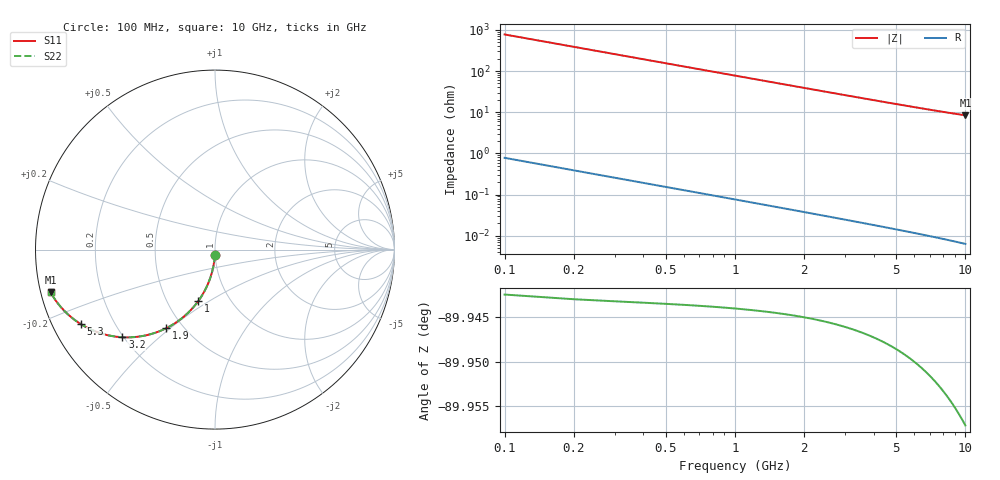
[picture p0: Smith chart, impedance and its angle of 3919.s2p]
# Hz S RI R 50.00
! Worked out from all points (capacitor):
!   100 points, 100 MHz to 10 GHz, reference 50 ohm
!   read as one part in shunt: C = 2.05 pF near 100 MHz
!   lowest |Z| = 8.42 ohm at 10 GHz (marker M1)
!   S11 on the Smith chart (normalised r, x): 100 MHz: 1.00, -0.06; 1 GHz: 0.71, -0.45; 1.9 GHz: 0.41, -0.48; 3.2 GHz: 0.20, -0.39; 5.3 GHz: 0.08, -0.26; 10 GHz: 0.03, -0.13
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1e8  -0.001 -0.0318  0.9989 -0.0325  0.9989 -0.0325  -0.001 -0.0318
2e8  -0.00412 -0.0634  0.9958 -0.0647  0.9958 -0.0647  -0.00412 -0.0634
3e8  -0.00925 -0.0946  0.9906 -0.0966  0.9906 -0.0966  -0.00925 -0.0946
4e8  -0.0163 -0.1252  0.9835 -0.1279  0.9835 -0.1279  -0.0163 -0.1252
5e8  -0.0253 -0.155  0.9746 -0.1584  0.9746 -0.1584  -0.0253 -0.155
6e8  -0.036 -0.1839  0.9639 -0.188  0.9639 -0.188  -0.036 -0.1839
7e8  -0.0484 -0.2118  0.9515 -0.2165  0.9515 -0.2165  -0.0484 -0.2118
8e8  -0.0622 -0.2385  0.9376 -0.2439  0.9376 -0.2439  -0.0622 -0.2385
1e9  -0.0939 -0.2879  0.9059 -0.2947  0.9059 -0.2947  -0.0939 -0.2879
1.2e9  -0.1299 -0.3317  0.87 -0.3398  0.87 -0.3398  -0.1299 -0.3317
1.4e9  -0.1688 -0.3694  0.831 -0.3789  0.831 -0.3789  -0.1688 -0.3694
1.8e9  -0.2514 -0.4273  0.7484 -0.4395  0.7484 -0.4395  -0.2514 -0.4273
1.9e9  -0.2723 -0.4383  0.7274 -0.4512  0.7274 -0.4512  -0.2723 -0.4383
2.5e9  -0.3935 -0.4795  0.6063 -0.4966  0.6063 -0.4966  -0.3935 -0.4795
3.2e9  -0.5157 -0.4883  0.4839 -0.5102  0.4839 -0.5102  -0.5157 -0.4883
3.4e9  -0.546 -0.4857  0.4535 -0.509  0.4535 -0.509  -0.546 -0.4857
4.2e9  -0.6481 -0.4625  0.3514 -0.4915  0.3514 -0.4915  -0.6481 -0.4625
5.1e9  -0.7317 -0.4246  0.2675 -0.4601  0.2675 -0.4601  -0.7317 -0.4246
5.3e9  -0.7467 -0.4157  0.2524 -0.4526  0.2524 -0.4526  -0.7467 -0.4157
6.7e9  -0.8262 -0.3543  0.1725 -0.4015  0.1725 -0.4015  -0.8262 -0.3543
8.4e9  -0.8832 -0.2893  0.1148 -0.3495  0.1148 -0.3495  -0.8832 -0.2893
1e10  -0.9156 -0.2388  0.0815 -0.3118  0.0815 -0.3118  -0.9156 -0.2388
